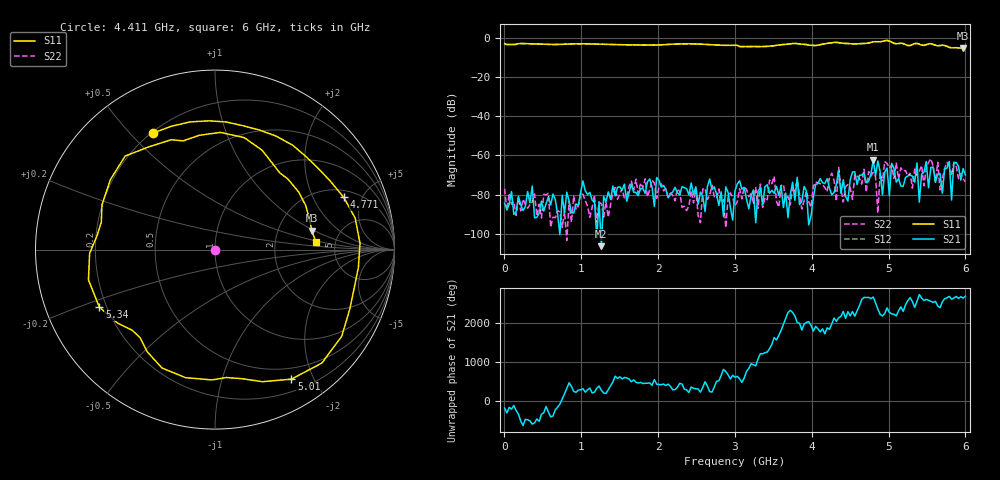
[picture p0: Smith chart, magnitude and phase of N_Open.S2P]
! C:\data\cal kit\Siglent Cal Kit\N_Open.S2P
! Touchstone 1.1 file saved by VNA.EXE V1.60 (www.ke5fx.com/gpib/readme.htm)
! 26/07/2019 10:46:42 a.m.
!  Source: HEWLETT PACKARD,8753C,0,4.12
!  Min freq: 3.000000E+006 Hz
!  Max freq: 6.000000E+009 Hz
!  Points: 201
!  Params: S11 S21 S12 S22
# GHZ S DB R 50
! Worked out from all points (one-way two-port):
!   201 points, 3 MHz to 6 GHz, reference 50 ohm
!   highest |S21| = -62.23 dB at 4.801 GHz (marker M1); lowest = -106.4 dB at 1.262 GHz (marker M2)
!   lowest |S11| = -5.2 dB at 5.97 GHz (marker M3), VSWR 3.44, Z = 156 + j47.1 ohm
!   |S11| at or under -10 dB: nowhere
!   |S22| runs from -103.5 to -61.7 dB; largest |S21 - S12| = 0.87
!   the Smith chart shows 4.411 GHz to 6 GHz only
!   S11 on the Smith chart (normalised r, x): 4.411 GHz: 0.21, +0.58; 4.771 GHz: 2.44, +3.54; 5.01 GHz: 0.35, -1.70; 5.34 GHz: 0.17, -0.23; 6 GHz: 3.53, +0.42
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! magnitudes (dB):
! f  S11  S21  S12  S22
! 3 MHz  -2.9  -84.5  -2.9  -77.0
! 1.022 GHz  -2.9  -73.0  -2.9  -79.8
! 1.262 GHz  -3.2  -106.4  -3.2  -84.8
! 2.012 GHz  -3.5  -72.8  -3.5  -75.9
! 3.002 GHz  -3.7  -78.0  -3.7  -85.8
! 4.021 GHz  -3.8  -81.6  -3.8  -75.8
! 4.321 GHz  -2.2  -74.6  -2.2  -83.4
! 4.351 GHz  -2.4  -68.0  -2.3  -66.2
! 4.411 GHz  -2.7  -72.4  -2.7  -83.8
! 4.771 GHz  -2.2  -69.6  -2.2  -70.6
! 4.801 GHz  -1.9  -62.2  -1.9  -68.7
! 4.861 GHz  -1.9  -62.8  -1.9  -89.5
! 5.01 GHz  -1.5  -80.6  -1.5  -66.4
! 5.04 GHz  -2.1  -64.0  -2.1  -65.0
! 5.34 GHz  -2.9  -73.7  -2.8  -67.0
! 5.49 GHz  -3.4  -63.1  -3.4  -66.8
! 5.7 GHz  -3.7  -79.3  -3.6  -72.1
! 5.79 GHz  -4.8  -63.1  -4.7  -65.2
! 5.82 GHz  -5.0  -82.8  -5.0  -70.3
! 5.85 GHz  -5.0  -63.6  -5.0  -63.5
! 5.97 GHz  -5.2  -66.7  -5.1  -72.0
! 6 GHz  -5.0  -70.0  -4.9  -73.5
